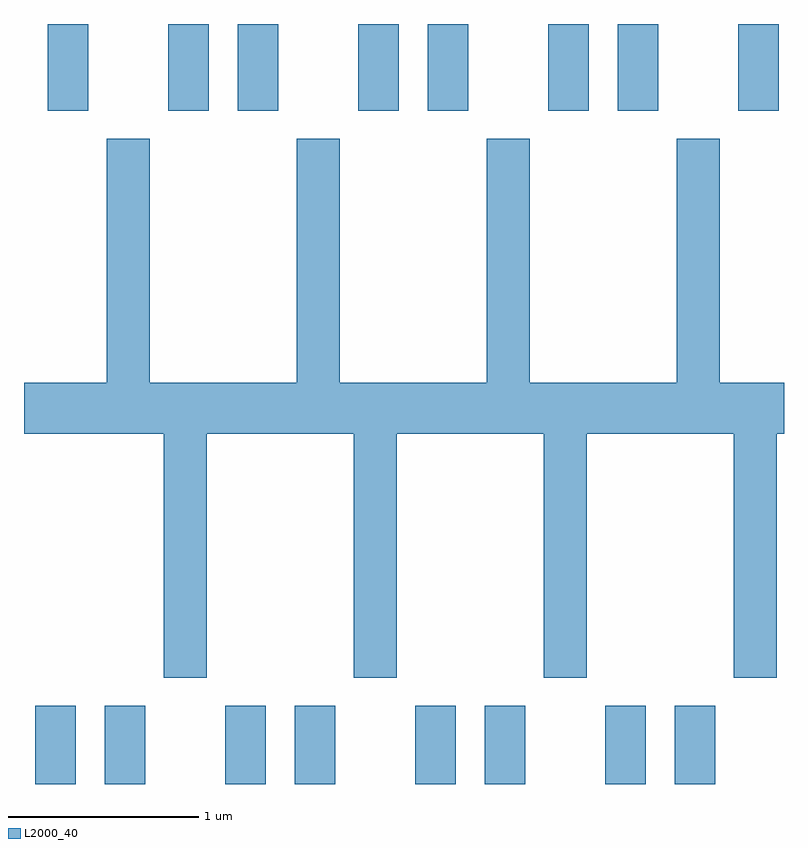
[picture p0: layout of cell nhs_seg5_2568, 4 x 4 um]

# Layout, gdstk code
import gdstk
lib = gdstk.Library(unit=1e-6, precision=1e-09)
def R(c, l, rs):  # rectangles x0, y0, x1, y1
    for r in rs: c.add(gdstk.rectangle(r[:2], r[2:], *l))
def P(c, l, *ps):  # polygons
    for p in ps: c.add(gdstk.Polygon(p, *l))
L2000_40 = (2000, 40)

nhs_seg5_2568 = lib.new_cell('nhs_seg5_2568')
R(nhs_seg5_2568, L2000_40, [(261.671,1446.072,261.884,1446.484), (262.036,1446.072,262.249,1446.484), (262.671,1446.072,262.884,1446.484), (263.036,1446.072,263.249,1446.484), (263.671,1446.072,263.884,1446.484), (264.036,1446.072,264.249,1446.484), (264.671,1446.072,264.884,1446.484), (265.036,1446.072,265.249,1446.484), (261.736,1449.616,261.949,1450.072), (262.371,1449.616,262.584,1450.072), (262.736,1449.616,262.949,1450.072), (263.371,1449.616,263.584,1450.072), (263.736,1449.616,263.949,1450.072), (264.371,1449.616,264.584,1450.072), (264.736,1449.616,264.949,1450.072), (265.371,1449.616,265.584,1450.072)])
P(nhs_seg5_2568, L2000_40, [(262.574,1447.916),(263.346,1447.916),(263.346,1446.631),(263.574,1446.631),(263.574,1447.916),(264.346,1447.916),(264.346,1446.631),(264.574,1446.631),(264.574,1447.916),(265.346,1447.916),(265.346,1446.631),(265.574,1446.631),(265.574,1447.916),(265.611,1447.916),(265.611,1448.184),(265.274,1448.184),(265.274,1449.469),(265.046,1449.469),(265.046,1448.184),(264.274,1448.184),(264.274,1449.469),(264.046,1449.469),(264.046,1448.184),(263.274,1448.184),(263.274,1449.469),(263.046,1449.469),(263.046,1448.184),(262.274,1448.184),(262.274,1449.469),(262.046,1449.469),(262.046,1448.184),(261.611,1448.184),(261.611,1447.916),(262.346,1447.916),(262.346,1446.631),(262.574,1446.631)])

lib.write_gds('nhs_seg5_2568.gds')
